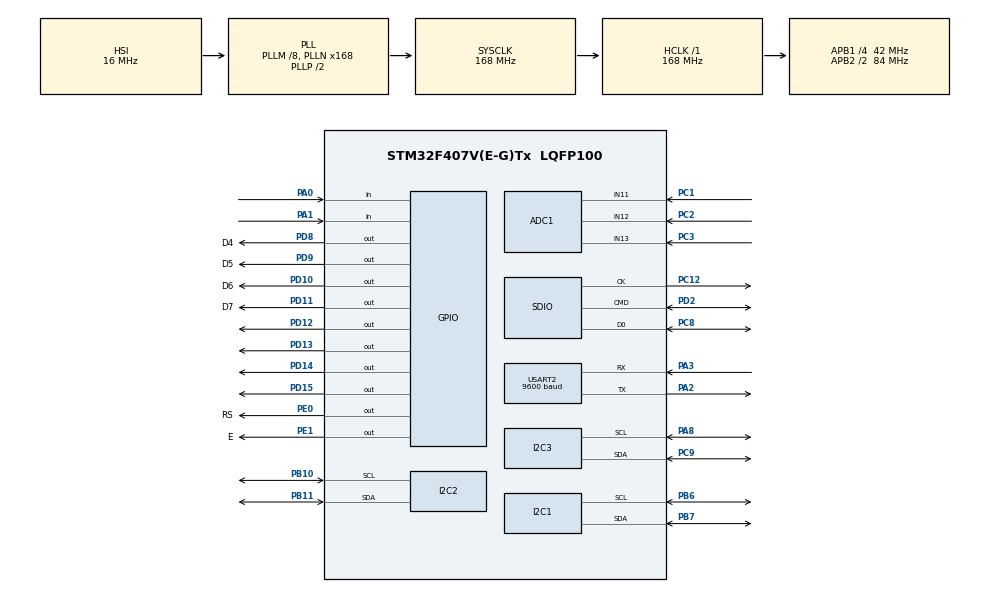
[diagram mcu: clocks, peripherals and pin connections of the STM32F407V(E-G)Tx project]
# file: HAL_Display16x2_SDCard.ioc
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ADC1.Channel-0\#ChannelRegularConversion=ADC_CHANNEL_11
ADC1.NbrOfConversionFlag=1
ADC1.Rank-0\#ChannelRegularConversion=1
ADC1.SamplingTime-0\#ChannelRegularConversion=ADC_SAMPLETIME_3CYCLES
ADC1.master=1
FATFS.BSP.number=1
FATFS0.BSP.STBoard=false
FATFS0.BSP.api=Unknown
FATFS0.BSP.i2caddr=0
FATFS0.BSP.instance=PA0-WKUP
FATFS0.BSP.ip=GPIO
FATFS0.BSP.mode=Input
FATFS0.BSP.name=Detect_SDIO
FATFS0.BSP.solution=PA0-WKUP
Mcu.Family=STM32F4
Mcu.Name=STM32F407V(E-G)Tx
Mcu.Package=LQFP100
NVIC.PriorityGroup=NVIC_PRIORITYGROUP_0
NVIC.TIM2_IRQn=true\:0\:0\:false\:false\:true\:true\:true
PA0-WKUP.Signal=GPIO_Input
PA1.Signal=GPIO_Input
PA2.Mode=Asynchronous
PA2.Signal=USART2_TX
PA3.Mode=Asynchronous
PA3.Signal=USART2_RX
PA8.Mode=I2C
PA8.Signal=I2C3_SCL
PB10.Mode=I2C
PB10.Signal=I2C2_SCL
PB11.Mode=I2C
PB11.Signal=I2C2_SDA
PB6.Mode=I2C
PB6.Signal=I2C1_SCL
PB7.Mode=I2C
PB7.Signal=I2C1_SDA
PC1.Signal=ADCx_IN11
PC12.Mode=SD_1_bit
PC12.Signal=SDIO_CK
PC2.Signal=ADCx_IN12
PC3.Signal=ADCx_IN13
PC8.Mode=SD_1_bit
PC8.Signal=SDIO_D0
PC9.Mode=I2C
PC9.Signal=I2C3_SDA
PD10.GPIO_Label=D6
PD10.Signal=GPIO_Output
PD11.GPIO_Label=D7
PD11.Signal=GPIO_Output
PD12.Signal=GPIO_Output
PD13.Signal=GPIO_Output
PD14.Signal=GPIO_Output
PD15.Signal=GPIO_Output
PD2.Mode=SD_1_bit
PD2.Signal=SDIO_CMD
PD8.GPIO_Label=D4
PD8.Signal=GPIO_Output
PD9.GPIO_Label=D5
PD9.Signal=GPIO_Output
PE0.GPIO_Label=RS
PE0.Signal=GPIO_Output
PE1.GPIO_Label=E
PE1.Signal=GPIO_Output
ProjectManager.HeapSize=0x2000
ProjectManager.StackSize=0x4000
ProjectManager.TargetToolchain=MDK-ARM V5.27
RCC.48MHZClocksFreq_Value=48000000
RCC.AHBFreq_Value=168000000
RCC.APB1CLKDivider=RCC_HCLK_DIV4
RCC.APB1Freq_Value=42000000
RCC.APB1TimFreq_Value=84000000
RCC.APB2CLKDivider=RCC_HCLK_DIV2
RCC.APB2Freq_Value=84000000
RCC.APB2TimFreq_Value=168000000
RCC.CortexFreq_Value=168000000
RCC.HCLKFreq_Value=168000000
RCC.HSE_VALUE=8000000
RCC.HSI_VALUE=16000000
RCC.LSE_VALUE=32768
RCC.PLLM=8
RCC.PLLN=168
RCC.PLLQ=7
RCC.SYSCLKFreq_VALUE=168000000
RCC.SYSCLKSource=RCC_SYSCLKSOURCE_PLLCLK
RCC.VCOOutputFreq_Value=336000000
SH.ADCx_IN11.0=ADC1_IN11,IN11
SH.ADCx_IN12.0=ADC1_IN12,IN12
SH.ADCx_IN13.0=ADC1_IN13,IN13
TIM2.Period=1000
TIM2.Prescaler=16000
TIM2.TIM_MasterOutputTrigger=TIM_TRGO_UPDATE
USART2.BaudRate=9600
USART2.VirtualMode=VM_ASYNC
VP_FATFS_VS_SDIO.Mode=SDIO
VP_TIM2_VS_ClockSourceINT.Mode=Internal
board=STM32F407G-DISC1

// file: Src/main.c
/* USER CODE BEGIN Header */
/**
			******************************************************************************
			* @file           : main.c
			* @brief          : Main program body
			******************************************************************************
			* @attention
			*
			* <h2><center>&copy; Copyright (c) 2020 STMicroelectronics.
			* All rights reserved.</center></h2>
			*
			* This software component is licensed by ST under Ultimate Liberty license
			* SLA0044, the "License"; You may not use this file except in compliance with
			* the License. You may obtain a copy of the License at:
			*                             www.st.com/SLA0044
			*
			******************************************************************************
			*/
/* USER CODE END Header */

#include "main.h"
#include "fatfs.h"

/* USER CODE BEGIN Includes */
#include "sht3x.h"
#include "STM_MY_LCD16X2.h"

#include "bmp085.h"
#include "BH1750.h"
/* USER CODE END Includes */

/* USER CODE BEGIN PM */

/*
			++++++++++Pines para el Display 16x2 en la STM32F4 con la librer�a HAL+++++++++

																			E --> PE1
																			RS --> PE0
																			D7 --> PD11
																			D6 --> PD10
																			D5 --> PD9
																			D4 --> PD8
			*/

/*
			++++++++++Pines para la SD_Card en la STM32F4 con la librer�a HAL++++++++++++++
																			SDCS --> -
																			MOSI --> PD2
																			SCK --> PC12
																			MISO --> PC8
			*/

/* USER CODE END PM */

ADC_HandleTypeDef hadc1;

I2C_HandleTypeDef hi2c1;
I2C_HandleTypeDef hi2c2;
I2C_HandleTypeDef hi2c3;

SD_HandleTypeDef hsd;

TIM_HandleTypeDef htim2;

UART_HandleTypeDef huart2;

/* USER CODE BEGIN PV */
float temperature = 0.0;
float humidity = 0.0;
int lumen = 0;
uint32_t adc1 = 0;
uint32_t adc2 = 0;
uint32_t adc3 = 0;
float BMP085_temp_K;
long BMP085_press_K;
float BH1750_lux;
	FATFS myFATAFS;
	FIL myFILE;
	UINT testByte;
		char myData[] = "Hello Worldasdas\0";
			char myPath[] = "WRITE1.TXT\0";

/* USER CODE END PV */

void SystemClock_Config(void);
static void MX_GPIO_Init(void);
static void MX_SDIO_SD_Init(void);
static void MX_ADC1_Init(void);
static void MX_I2C1_Init(void);
static void MX_I2C2_Init(void);
static void MX_I2C3_Init(void);
static void MX_USART2_UART_Init(void);
static void MX_TIM2_Init(void);
/* USER CODE BEGIN PFP */
uint16_t Read_Adc( ADC_Channel_t channel);
void USART_Puts(USART_TypeDef* USARTx, char* str) ;

  //BH1750_SetMode(CONTINUOUS_HIGH_RES_MODE_2);

/* USER CODE END PFP */

int main(void)
{

  /* MCU Configuration--------------------------------------------------------*/

  /* Reset of all peripherals, Initializes the Flash interface and the Systick. */
  HAL_Init();

  /* Configure the system clock */
  SystemClock_Config();

  /* Initialize all configured peripherals */
  MX_GPIO_Init();
  MX_SDIO_SD_Init();
  MX_FATFS_Init();
  MX_ADC1_Init();
  MX_I2C1_Init();
  MX_I2C2_Init();
  MX_I2C3_Init();
  MX_USART2_UART_Init();
  MX_TIM2_Init();
	BH1750_Init(&hi2c2);
  BH1750_SetMode(CONTINUOUS_HIGH_RES_MODE_2);
  /* USER CODE BEGIN 2 */

	//Timer2
	HAL_TIM_Base_Start_IT(&htim2);

  //BMP085Calibration(&hi2c1);
	bmp_t bmp;
	bmp_init(&bmp);
	float altitud = 0.0;
	float temp = 0.0;

	//Inicializaci�n del Display 16x2
	LCD1602_Begin4BIT(RS_GPIO_Port, RS_Pin, E_Pin, D4_GPIO_Port, D4_Pin, D5_Pin, D6_Pin, D7_Pin);

  /* USER CODE END 2 */

  /* Infinite loop */
  /* USER CODE BEGIN WHILE */

	//Guardar datos en un .txt dentro de la SD_Card

	if (f_mount(&myFATAFS, SDPath, 1) == FR_OK)
	{
		HAL_GPIO_TogglePin(GPIOD, GPIO_PIN_12);
		char myPath[] = "WRITE1.TXT\0";
		f_open(&myFILE, myPath, FA_WRITE | FA_CREATE_ALWAYS);

		f_write(&myFILE, myData, sizeof(myData), &testByte);
		f_close(&myFILE);

	}

	char buff[20];
	int count = 0;
	while (1)
	{
    /* USER CODE END WHILE */

    /* USER CODE BEGIN 3 */

			if(f_mount(&myFATAFS, SDPath, 1) == FR_OK)
		{
			f_open(&myFILE, myPath, FA_OPEN_APPEND | FA_WRITE );

			char asd [10];
			sprintf(asd,"%d %d \n\r",count );

			f_write(&myFILE, asd, sizeof(asd), &testByte);
			f_close(&myFILE);
			HAL_Delay(1000);

		}

		//Imprimir en el Display

		SHT3X_Update();

		temperature = SHT3X_getTemperature();
		humidity = SHT3X_getHumidity();

		adc1 = Read_Adc( ADC_Channel_11);
		adc2 = Read_Adc( ADC_Channel_12); //Este
		adc3 = Read_Adc( ADC_Channel_13); // Y este

		//sprintf(buff, "Paco : %lf %lf %d %d\n\r", humidity,temperature,adc1,adc2);
		//sprintf(buff, "%d %d %d",adc1, adc2,adc3);

		//sprintf(buff, ": %0.2lf %0.2lf ", humidity,temperature);

		//BMP180
		bmp.uncomp.temp = get_ut ();
		bmp.data.temp = get_temp (&bmp);
		bmp.uncomp.press = get_up (bmp.oss);
		bmp.data.press = get_pressure (bmp);
		bmp.data.altitude = get_altitude (&bmp);

		if(BH1750_OK == BH1750_ReadLight(&BH1750_lux))
	  {
			sprintf(buff, "H: %.2f\t T: %.2f\t T: %.2f\t P: %d\t A: %.2f\t Lx: %.2f\t ADC1: %d\t ADC2: %d\t ADC3: %d\r\n",humidity, temperature, bmp.data.temp, bmp.data.press, bmp.data.altitude,BH1750_lux*2,adc1,adc2,adc3);

			USART_Puts(USART2,buff);
	  }

		//USART_Puts(USART2,"ASD");

				sprintf(buff, "ContamiKrap : %d", count++);
				LCD1602_1stLine();
		LCD1602_print(buff);

			//sprintf(buff, ": %0.2lf %0.2lf ", 0.6,0.8);
		LCD1602_2ndLine();
		LCD1602_print("negro de meirda");

	}
  /* USER CODE END 3 */
}

void SystemClock_Config(void)
{
  RCC_OscInitTypeDef RCC_OscInitStruct = {0};
  RCC_ClkInitTypeDef RCC_ClkInitStruct = {0};

  /** Configure the main internal regulator output voltage
  */
  __HAL_RCC_PWR_CLK_ENABLE();
  __HAL_PWR_VOLTAGESCALING_CONFIG(PWR_REGULATOR_VOLTAGE_SCALE1);
  /** Initializes the CPU, AHB and APB busses clocks
  */
  RCC_OscInitStruct.OscillatorType = RCC_OSCILLATORTYPE_HSI;
  RCC_OscInitStruct.HSIState = RCC_HSI_ON;
  RCC_OscInitStruct.HSICalibrationValue = RCC_HSICALIBRATION_DEFAULT;
  RCC_OscInitStruct.PLL.PLLState = RCC_PLL_ON;
  RCC_OscInitStruct.PLL.PLLSource = RCC_PLLSOURCE_HSI;
  RCC_OscInitStruct.PLL.PLLM = 8;
  RCC_OscInitStruct.PLL.PLLN = 168;
  RCC_OscInitStruct.PLL.PLLP = RCC_PLLP_DIV2;
  RCC_OscInitStruct.PLL.PLLQ = 7;
  if (HAL_RCC_OscConfig(&RCC_OscInitStruct) != HAL_OK)
  {
    Error_Handler();
  }
  /** Initializes the CPU, AHB and APB busses clocks
  */
  RCC_ClkInitStruct.ClockType = RCC_CLOCKTYPE_HCLK|RCC_CLOCKTYPE_SYSCLK
                              |RCC_CLOCKTYPE_PCLK1|RCC_CLOCKTYPE_PCLK2;
  RCC_ClkInitStruct.SYSCLKSource = RCC_SYSCLKSOURCE_PLLCLK;
  RCC_ClkInitStruct.AHBCLKDivider = RCC_SYSCLK_DIV1;
  RCC_ClkInitStruct.APB1CLKDivider = RCC_HCLK_DIV4;
  RCC_ClkInitStruct.APB2CLKDivider = RCC_HCLK_DIV2;

  if (HAL_RCC_ClockConfig(&RCC_ClkInitStruct, FLASH_LATENCY_5) != HAL_OK)
  {
    Error_Handler();
  }
}

static void MX_ADC1_Init(void)
{

  ADC_ChannelConfTypeDef sConfig = {0};

  /** Configure the global features of the ADC (Clock, Resolution, Data Alignment and number of conversion)
  */
  hadc1.Instance = ADC1;
  hadc1.Init.ClockPrescaler = ADC_CLOCK_SYNC_PCLK_DIV4;
  hadc1.Init.Resolution = ADC_RESOLUTION_12B;
  hadc1.Init.ScanConvMode = DISABLE;
  hadc1.Init.ContinuousConvMode = DISABLE;
  hadc1.Init.DiscontinuousConvMode = DISABLE;
  hadc1.Init.ExternalTrigConvEdge = ADC_EXTERNALTRIGCONVEDGE_NONE;
  hadc1.Init.ExternalTrigConv = ADC_SOFTWARE_START;
  hadc1.Init.DataAlign = ADC_DATAALIGN_RIGHT;
  hadc1.Init.NbrOfConversion = 1;
  hadc1.Init.DMAContinuousRequests = DISABLE;
  hadc1.Init.EOCSelection = ADC_EOC_SINGLE_CONV;
  if (HAL_ADC_Init(&hadc1) != HAL_OK)
  {
    Error_Handler();
  }
  /** Configure for the selected ADC regular channel its corresponding rank in the sequencer and its sample time.
  */
  sConfig.Channel = ADC_CHANNEL_11;
  sConfig.Rank = 1;
  sConfig.SamplingTime = ADC_SAMPLETIME_3CYCLES;
  if (HAL_ADC_ConfigChannel(&hadc1, &sConfig) != HAL_OK)
  {
    Error_Handler();
  }

}

static void MX_I2C1_Init(void)
{

  hi2c1.Instance = I2C1;
  hi2c1.Init.ClockSpeed = 100000;
  hi2c1.Init.DutyCycle = I2C_DUTYCYCLE_2;
  hi2c1.Init.OwnAddress1 = 0;
  hi2c1.Init.AddressingMode = I2C_ADDRESSINGMODE_7BIT;
  hi2c1.Init.DualAddressMode = I2C_DUALADDRESS_DISABLE;
  hi2c1.Init.OwnAddress2 = 0;
  hi2c1.Init.GeneralCallMode = I2C_GENERALCALL_DISABLE;
  hi2c1.Init.NoStretchMode = I2C_NOSTRETCH_DISABLE;
  if (HAL_I2C_Init(&hi2c1) != HAL_OK)
  {
    Error_Handler();
  }

}

static void MX_I2C2_Init(void)
{

  hi2c2.Instance = I2C2;
  hi2c2.Init.ClockSpeed = 100000;
  hi2c2.Init.DutyCycle = I2C_DUTYCYCLE_2;
  hi2c2.Init.OwnAddress1 = 0;
  hi2c2.Init.AddressingMode = I2C_ADDRESSINGMODE_7BIT;
  hi2c2.Init.DualAddressMode = I2C_DUALADDRESS_DISABLE;
  hi2c2.Init.OwnAddress2 = 0;
  hi2c2.Init.GeneralCallMode = I2C_GENERALCALL_DISABLE;
  hi2c2.Init.NoStretchMode = I2C_NOSTRETCH_DISABLE;
  if (HAL_I2C_Init(&hi2c2) != HAL_OK)
  {
    Error_Handler();
  }

}

static void MX_I2C3_Init(void)
{

  hi2c3.Instance = I2C3;
  hi2c3.Init.ClockSpeed = 100000;
  hi2c3.Init.DutyCycle = I2C_DUTYCYCLE_2;
  hi2c3.Init.OwnAddress1 = 0;
  hi2c3.Init.AddressingMode = I2C_ADDRESSINGMODE_7BIT;
  hi2c3.Init.DualAddressMode = I2C_DUALADDRESS_DISABLE;
  hi2c3.Init.OwnAddress2 = 0;
  hi2c3.Init.GeneralCallMode = I2C_GENERALCALL_DISABLE;
  hi2c3.Init.NoStretchMode = I2C_NOSTRETCH_DISABLE;
  if (HAL_I2C_Init(&hi2c3) != HAL_OK)
  {
    Error_Handler();
  }

}

static void MX_SDIO_SD_Init(void)
{

  hsd.Instance = SDIO;
  hsd.Init.ClockEdge = SDIO_CLOCK_EDGE_RISING;
  hsd.Init.ClockBypass = SDIO_CLOCK_BYPASS_DISABLE;
  hsd.Init.ClockPowerSave = SDIO_CLOCK_POWER_SAVE_DISABLE;
  hsd.Init.BusWide = SDIO_BUS_WIDE_1B;
  hsd.Init.HardwareFlowControl = SDIO_HARDWARE_FLOW_CONTROL_DISABLE;
  hsd.Init.ClockDiv = 0;

}

static void MX_TIM2_Init(void)
{

  TIM_ClockConfigTypeDef sClockSourceConfig = {0};
  TIM_MasterConfigTypeDef sMasterConfig = {0};

  htim2.Instance = TIM2;
  htim2.Init.Prescaler = 16000;
  htim2.Init.CounterMode = TIM_COUNTERMODE_UP;
  htim2.Init.Period = 50000;
  htim2.Init.ClockDivision = TIM_CLOCKDIVISION_DIV1;
  htim2.Init.AutoReloadPreload = TIM_AUTORELOAD_PRELOAD_DISABLE;
  if (HAL_TIM_Base_Init(&htim2) != HAL_OK)
  {
    Error_Handler();
  }
  sClockSourceConfig.ClockSource = TIM_CLOCKSOURCE_INTERNAL;
  if (HAL_TIM_ConfigClockSource(&htim2, &sClockSourceConfig) != HAL_OK)
  {
    Error_Handler();
  }
  sMasterConfig.MasterOutputTrigger = TIM_TRGO_UPDATE;
  sMasterConfig.MasterSlaveMode = TIM_MASTERSLAVEMODE_DISABLE;
  if (HAL_TIMEx_MasterConfigSynchronization(&htim2, &sMasterConfig) != HAL_OK)
  {
    Error_Handler();
  }

}

static void MX_USART2_UART_Init(void)
{

  huart2.Instance = USART2;
  huart2.Init.BaudRate = 9600;
  huart2.Init.WordLength = UART_WORDLENGTH_8B;
  huart2.Init.StopBits = UART_STOPBITS_1;
  huart2.Init.Parity = UART_PARITY_NONE;
  huart2.Init.Mode = UART_MODE_TX_RX;
  huart2.Init.HwFlowCtl = UART_HWCONTROL_NONE;
  huart2.Init.OverSampling = UART_OVERSAMPLING_16;
  if (HAL_UART_Init(&huart2) != HAL_OK)
  {
    Error_Handler();
  }

}

static void MX_GPIO_Init(void)
{
  GPIO_InitTypeDef GPIO_InitStruct = {0};

  /* GPIO Ports Clock Enable */
  __HAL_RCC_GPIOC_CLK_ENABLE();
  __HAL_RCC_GPIOA_CLK_ENABLE();
  __HAL_RCC_GPIOB_CLK_ENABLE();
  __HAL_RCC_GPIOD_CLK_ENABLE();
  __HAL_RCC_GPIOE_CLK_ENABLE();

  /*Configure GPIO pin Output Level */
  HAL_GPIO_WritePin(GPIOD, D4_Pin|D5_Pin|D6_Pin|D7_Pin
                          |GPIO_PIN_12|GPIO_PIN_13|GPIO_PIN_14|GPIO_PIN_15, GPIO_PIN_RESET);

  /*Configure GPIO pin Output Level */
  HAL_GPIO_WritePin(GPIOE, RS_Pin|E_Pin, GPIO_PIN_RESET);

  /*Configure GPIO pins : PA0 PA1 */
  GPIO_InitStruct.Pin = GPIO_PIN_0|GPIO_PIN_1;
  GPIO_InitStruct.Mode = GPIO_MODE_INPUT;
  GPIO_InitStruct.Pull = GPIO_NOPULL;
  HAL_GPIO_Init(GPIOA, &GPIO_InitStruct);

  /*Configure GPIO pins : D4_Pin D5_Pin D6_Pin D7_Pin
                           PD12 PD13 PD14 PD15 */
  GPIO_InitStruct.Pin = D4_Pin|D5_Pin|D6_Pin|D7_Pin
                          |GPIO_PIN_12|GPIO_PIN_13|GPIO_PIN_14|GPIO_PIN_15;
  GPIO_InitStruct.Mode = GPIO_MODE_OUTPUT_PP;
  GPIO_InitStruct.Pull = GPIO_NOPULL;
  GPIO_InitStruct.Speed = GPIO_SPEED_FREQ_LOW;
  HAL_GPIO_Init(GPIOD, &GPIO_InitStruct);

  /*Configure GPIO pins : RS_Pin E_Pin */
  GPIO_InitStruct.Pin = RS_Pin|E_Pin;
  GPIO_InitStruct.Mode = GPIO_MODE_OUTPUT_PP;
  GPIO_InitStruct.Pull = GPIO_NOPULL;
  GPIO_InitStruct.Speed = GPIO_SPEED_FREQ_LOW;
  HAL_GPIO_Init(GPIOE, &GPIO_InitStruct);

}

/* USER CODE BEGIN 4 */

//Timer2
void HAL_TIM_PeriodElapsedCallback(TIM_HandleTypeDef *htim)
{
		char buff[20];
  /* Prevent unused argument(s) compilation warning */
  UNUSED(htim);

  /* NOTE : This function should not be modified, when the callback is needed,
            the HAL_TIM_PeriodElapsedCallback could be implemented in the user file
   */
	HAL_GPIO_TogglePin(GPIOD, GPIO_PIN_14);

}

uint16_t Read_Adc( ADC_Channel_t channel){
	ADC_ChannelConfTypeDef sConfig;

	/* Configure ADC regular channel */
	sConfig.Channel = (uint8_t) channel;
	sConfig.Rank = 1;

	sConfig.SamplingTime = ADC_SAMPLETIME_15CYCLES;
	sConfig.Offset = 0;

	/* Set handle */
	hadc1.Instance = ADC1;

	/* Return zero */
	if (HAL_ADC_ConfigChannel(&hadc1, &sConfig) != HAL_OK) {
		return 0;
	}

	/* Start conversion */
	if (HAL_ADC_Start(&hadc1) != HAL_OK) {
		return 0;
	}

	/* Poll for end */
	HAL_ADC_PollForConversion(&hadc1, 1000);

	/* Check if the continous conversion of regular channel is finished */
	if (HAL_ADC_GetState(&hadc1) == 0x201) {

		// Get the converted value of regular channel
		return HAL_ADC_GetValue(&hadc1);
	}

	/* Return zero */
	return 0;
}

void USART_Puts(USART_TypeDef* USARTx, char* str) {
	/* Go through entire string */
	while (*str) {
		/* Wait to be ready, buffer empty */
		USART_WAIT(USARTx);
		/* Send data */
	USART_WRITE_DATA(USARTx, (uint16_t)(*str++));
		/* Wait to be ready, buffer empty */
		USART_WAIT(USARTx);
	}
}

/* USER CODE END 4 */

void Error_Handler(void)
{
}

/************************ (C) COPYRIGHT STMicroelectronics *****END OF FILE****/
